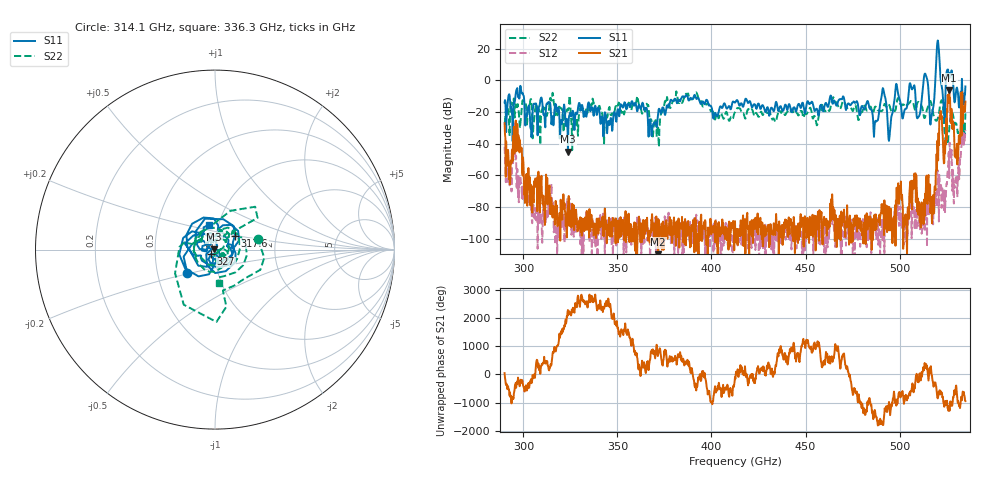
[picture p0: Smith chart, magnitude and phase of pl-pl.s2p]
!Created with skrf (http://scikit-rf.org).
# GHz S RI R 50.0
!freq ReS11 ImS11 ReS21 ImS21 ReS12 ImS12 ReS22 ImS22
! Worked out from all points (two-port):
!   1201 points, 290 GHz to 535 GHz, reference 50 ohm
!   highest |S21| = -6.41 dB at 526.4 GHz (marker M1); lowest = -118.6 dB at 371.7 GHz (marker M2)
!   |S21| within 3 dB of the highest: 525.6048 GHz to 525.6181 GHz (13.3 MHz wide, 0.00253 % of centre); 533.1512 GHz to 533.3866 GHz (235.4 MHz wide, 0.0441 % of centre)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
!   lowest |S11| = -45.1 dB at 323.7 GHz (marker M3), VSWR 1.01, Z = 49.5 + j0.112 ohm
!   |S11| at or under -10 dB: 300.2 GHz to 386.1 GHz (85.93 GHz wide, 25 % of centre); 391.5 GHz to 463.2 GHz (71.75 GHz wide, 16.8 % of centre); 463.6 GHz to 490.5 GHz (26.87 GHz wide, 5.63 % of centre)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
!   |S22| runs from -44.1 to -7.0 dB; largest |S21 - S12| = 0.48
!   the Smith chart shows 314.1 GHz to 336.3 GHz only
!   S11 on the Smith chart (normalised r, x): 314.1 GHz: 0.71, -0.19; 317.6 GHz: 1.23, +0.20; 327 GHz: 0.96, -0.05; 336.3 GHz: 0.90, +0.26
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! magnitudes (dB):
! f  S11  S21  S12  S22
! 290 GHz  -14.0  -27.2  -42.0  -27.2
! 314.1 GHz  -13.9  -84.4  -76.8  -12.2
! 317.6 GHz  -17.3  -87.6  -88.2  -19.9
! 323.7 GHz  -45.1  -80.1  -92.7  -19.0
! 327 GHz  -29.7  -94.7  -92.2  -21.9
! 331 GHz  -15.7  -98.2  -117.7  -18.7
! 336.3 GHz  -17.0  -92.8  -109.6  -14.6
! 371.7 GHz  -21.0  -118.6  -93.0  -30.3
! 412.5 GHz  -14.1  -88.9  -97.1  -20.1
! 453.5 GHz  -13.7  -90.7  -95.7  -22.5
! 487.2 GHz  -25.6  -86.0  -84.9  -16.6
! 491.5 GHz  -6.5  -79.4  -102.2  -16.6
! 494.2 GHz  -37.2  -87.3  -85.7  -15.0
! 498.7 GHz  -4.1  -77.0  -76.7  -13.2
! 510.1 GHz  -23.1  -80.0  -80.2  -13.8
! 513.8 GHz  3.9  -74.4  -73.0  -22.4
! 517.6 GHz  -18.6  -79.9  -88.9  -19.8
! 520.3 GHz  25.2  -43.0  -57.1  -24.0
! 523.2 GHz  -12.4  -41.9  -74.6  -18.2
! 526.4 GHz  1.2  -6.4  -61.8  -30.7
! 530.5 GHz  -4.6  -40.2  -63.2  -29.5
! 535 GHz  -3.9  -13.4  -31.4  -20.9
